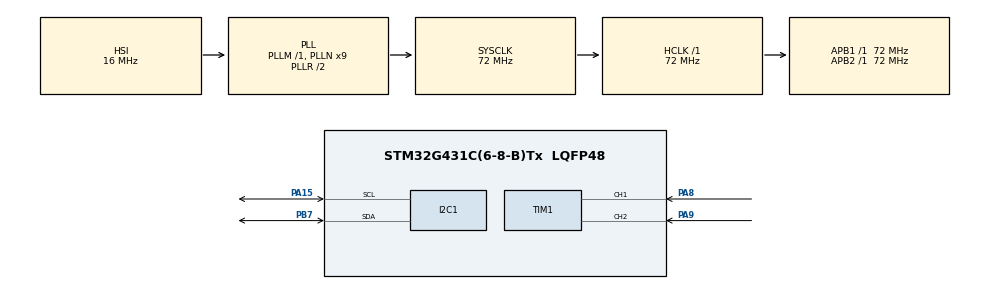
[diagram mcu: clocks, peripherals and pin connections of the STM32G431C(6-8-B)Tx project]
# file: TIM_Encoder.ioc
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I2C1.Timing=0x10C18DCC
Mcu.Family=STM32G4
Mcu.Name=STM32G431C(6-8-B)Tx
Mcu.Package=LQFP48
NVIC.PriorityGroup=NVIC_PRIORITYGROUP_4
PA13.Mode=Serial_Wire
PA13.Signal=SYS_JTMS-SWDIO
PA14.Mode=Serial_Wire
PA14.Signal=SYS_JTCK-SWCLK
PA15.Mode=I2C
PA15.Signal=I2C1_SCL
PA6.Signal=S_TIM3_CH1
PA8.Signal=S_TIM1_CH1
PA9.Signal=S_TIM1_CH2
PB7.Mode=I2C
PB7.Signal=I2C1_SDA
PF0-OSC_IN.Mode=HSE-External-Oscillator
PF0-OSC_IN.Signal=RCC_OSC_IN
PF1-OSC_OUT.Mode=HSE-External-Oscillator
PF1-OSC_OUT.Signal=RCC_OSC_OUT
ProjectManager.HeapSize=0x200
ProjectManager.StackSize=0x400
ProjectManager.TargetToolchain=CMake
RCC.ADC12Freq_Value=72000000
RCC.AHBFreq_Value=72000000
RCC.APB1Freq_Value=72000000
RCC.APB1TimFreq_Value=72000000
RCC.APB2Freq_Value=72000000
RCC.APB2TimFreq_Value=72000000
RCC.CortexFreq_Value=72000000
RCC.EXTERNAL_CLOCK_VALUE=12288000
RCC.HCLKFreq_Value=72000000
RCC.HSE_VALUE=8000000
RCC.HSI48_VALUE=48000000
RCC.HSI_VALUE=16000000
RCC.LSE_VALUE=32768
RCC.PLLN=9
RCC.SYSCLKFreq_VALUE=72000000
RCC.SYSCLKSource=RCC_SYSCLKSOURCE_PLLCLK
RCC.USBFreq_Value=72000000
RCC.VCOOutputFreq_Value=144000000
SH.S_TIM1_CH1.0=TIM1_CH1,Encoder_Interface
SH.S_TIM1_CH2.0=TIM1_CH2,Encoder_Interface
SH.S_TIM3_CH1.0=TIM3_CH1
TIM1.IC1Filter=15
TIM1.IC1Polarity=TIM_ICPOLARITY_FALLING
TIM1.IC2Filter=15
TIM3.Channel-PWM\ Generation1\ No\ Output=TIM_CHANNEL_1
TIM3.PeriodNoDither=100-1
TIM3.Prescaler=72-1
VP_SYS_VS_DBSignals.Mode=DisableDeadBatterySignals
VP_TIM3_VS_ClockSourceINT.Mode=Internal
VP_TIM3_VS_no_output1.Mode=PWM Generation1 No Output
board=custom

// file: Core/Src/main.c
/* USER CODE BEGIN Header */
/**
  ******************************************************************************
  * @file           : main.c
  * @brief          : Main program body
  ******************************************************************************
  * @attention
  *
  * Copyright (c) 2026 STMicroelectronics.
  * All rights reserved.
  *
  * This software is licensed under terms that can be found in the LICENSE file
  * in the root directory of this software component.
  * If no LICENSE file comes with this software, it is provided AS-IS.
  *
  ******************************************************************************
  */
/* USER CODE END Header */
#include "main.h"
#include "i2c.h"
#include "tim.h"
#include "gpio.h"

/* USER CODE BEGIN Includes */
#include "oled.h"
#include "font.h"
#include "stdio.h"
/* USER CODE END Includes */

void SystemClock_Config(void);

int main(void)
{

  /* MCU Configuration--------------------------------------------------------*/

  /* Reset of all peripherals, Initializes the Flash interface and the Systick. */
  HAL_Init();

  /* Configure the system clock */
  SystemClock_Config();

  /* Initialize all configured peripherals */
  MX_GPIO_Init();
  MX_TIM1_Init();
  MX_I2C1_Init();
  MX_TIM3_Init();
  /* USER CODE BEGIN 2 */
  HAL_Delay(20);
  OLED_Init();

  HAL_TIM_Encoder_Start(&htim1, TIM_CHANNEL_ALL);
  HAL_TIM_PWM_Start(&htim3, TIM_CHANNEL_1);

  int count = 0;
  char message[50] = "";

  /* USER CODE END 2 */

  /* Infinite loop */
  /* USER CODE BEGIN WHILE */
  while (1)
  {
    OLED_NewFrame();

    count = __HAL_TIM_GET_COUNTER(&htim1);
    if (count > 6000) {
      count = 0;
    __HAL_TIM_SET_COUNTER(&htim1, 0);
    }else if (count > 100) {
      count = 100;
      __HAL_TIM_SET_COUNTER(&htim1, 100);
    }

    sprintf(message,"count:%d",count);
    OLED_PrintString(13,0,message,&font16x16,OLED_COLOR_NORMAL);
    OLED_DrawRectangle(13,25,101,12,OLED_COLOR_NORMAL);
    OLED_DrawFilledRectangle(13,26,count,11,OLED_COLOR_NORMAL);

    __HAL_TIM_SET_COMPARE(&htim3, TIM_CHANNEL_1, count);
    OLED_ShowFrame();

    HAL_Delay(100);

    /* USER CODE END WHILE */

  }
}

void SystemClock_Config(void)
{
  RCC_OscInitTypeDef RCC_OscInitStruct = {0};
  RCC_ClkInitTypeDef RCC_ClkInitStruct = {0};

  /** Configure the main internal regulator output voltage
  */
  HAL_PWREx_ControlVoltageScaling(PWR_REGULATOR_VOLTAGE_SCALE1);

  /** Initializes the RCC Oscillators according to the specified parameters
  * in the RCC_OscInitTypeDef structure.
  */
  RCC_OscInitStruct.OscillatorType = RCC_OSCILLATORTYPE_HSI;
  RCC_OscInitStruct.HSIState = RCC_HSI_ON;
  RCC_OscInitStruct.HSICalibrationValue = RCC_HSICALIBRATION_DEFAULT;
  RCC_OscInitStruct.PLL.PLLState = RCC_PLL_ON;
  RCC_OscInitStruct.PLL.PLLSource = RCC_PLLSOURCE_HSI;
  RCC_OscInitStruct.PLL.PLLM = RCC_PLLM_DIV1;
  RCC_OscInitStruct.PLL.PLLN = 9;
  RCC_OscInitStruct.PLL.PLLP = RCC_PLLP_DIV2;
  RCC_OscInitStruct.PLL.PLLQ = RCC_PLLQ_DIV2;
  RCC_OscInitStruct.PLL.PLLR = RCC_PLLR_DIV2;
  if (HAL_RCC_OscConfig(&RCC_OscInitStruct) != HAL_OK)
  {
    Error_Handler();
  }

  /** Initializes the CPU, AHB and APB buses clocks
  */
  RCC_ClkInitStruct.ClockType = RCC_CLOCKTYPE_HCLK|RCC_CLOCKTYPE_SYSCLK
                              |RCC_CLOCKTYPE_PCLK1|RCC_CLOCKTYPE_PCLK2;
  RCC_ClkInitStruct.SYSCLKSource = RCC_SYSCLKSOURCE_PLLCLK;
  RCC_ClkInitStruct.AHBCLKDivider = RCC_SYSCLK_DIV1;
  RCC_ClkInitStruct.APB1CLKDivider = RCC_HCLK_DIV1;
  RCC_ClkInitStruct.APB2CLKDivider = RCC_HCLK_DIV1;

  if (HAL_RCC_ClockConfig(&RCC_ClkInitStruct, FLASH_LATENCY_2) != HAL_OK)
  {
    Error_Handler();
  }
}

void Error_Handler(void)
{
  __disable_irq();
  while (1)
  {
  }
}
